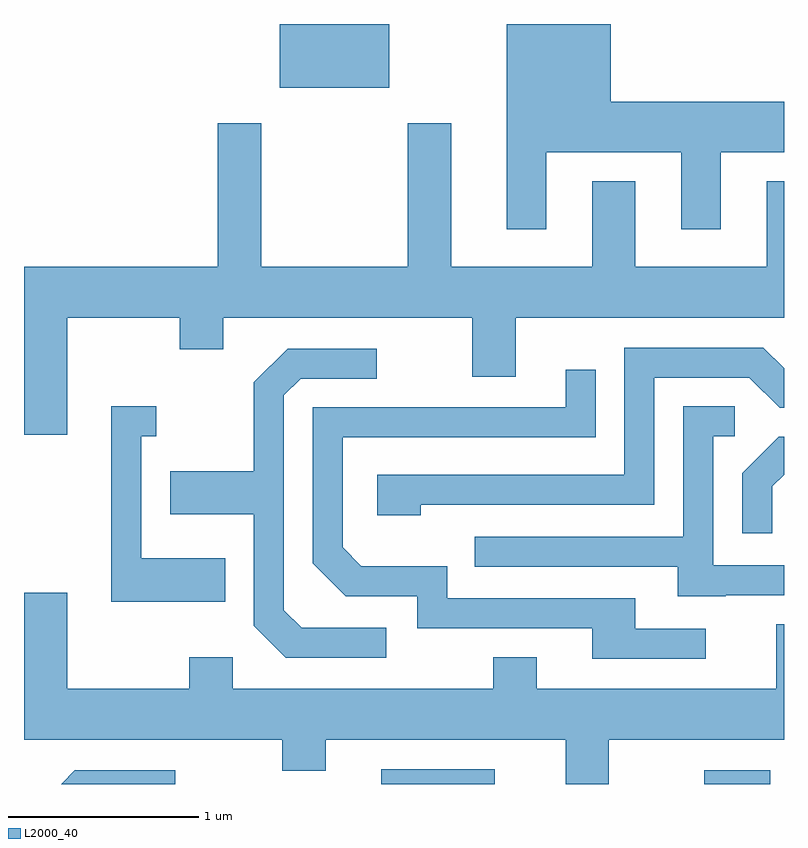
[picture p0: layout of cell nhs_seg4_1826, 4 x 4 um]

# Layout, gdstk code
import gdstk
lib = gdstk.Library(unit=1e-6, precision=1e-09)
def R(c, l, rs):  # rectangles x0, y0, x1, y1
    for r in rs: c.add(gdstk.rectangle(r[:2], r[2:], *l))
def P(c, l, *ps):  # polygons
    for p in ps: c.add(gdstk.Polygon(p, *l))
L2000_40 = (2000, 40)

nhs_seg4_1826 = lib.new_cell('nhs_seg4_1826')
R(nhs_seg4_1826, L2000_40, [(239.491,1369.982,240.088,1370.059), (241.191,1369.982,241.538,1370.054), (238.956,1373.646,239.534,1373.982)])
P(nhs_seg4_1826, L2000_40, [(240.359,1373.306),(241.071,1373.306),(241.071,1372.901),(241.279,1372.901),(241.279,1373.306),(241.611,1373.306),(241.611,1373.574),(240.699,1373.574),(240.699,1373.982),(240.151,1373.982),(240.151,1372.901),(240.359,1372.901)],
  [(239.859,1373.459),(239.631,1373.459),(239.631,1372.704),(238.859,1372.704),(238.859,1373.459),(238.631,1373.459),(238.631,1372.704),(237.611,1372.704),(237.611,1371.821),(237.839,1371.821),(237.839,1372.436),(238.431,1372.436),(238.431,1372.271),(238.659,1372.271),(238.659,1372.436),(239.971,1372.436),(239.971,1372.126),(240.199,1372.126),(240.199,1372.436),(241.611,1372.436),(241.611,1373.154),(241.521,1373.154),(241.521,1372.704),(240.829,1372.704),(240.829,1373.154),(240.601,1373.154),(240.601,1372.704),(239.859,1372.704)],
  [(239.699,1371.451),(240.929,1371.451),(240.929,1372.121),(241.429,1372.121),(241.589,1371.961),(241.611,1371.961),(241.611,1372.17),(241.502,1372.279),(240.771,1372.279),(240.771,1371.609),(239.471,1371.609),(239.471,1371.396),(239.699,1371.396)],
  [(239.518,1370.804),(239.072,1370.804),(238.979,1370.897),(238.979,1372.029),(239.067,1372.116),(239.468,1372.116),(239.468,1372.274),(238.999,1372.274),(238.821,1372.097),(238.821,1371.629),(238.381,1371.629),(238.381,1371.401),(238.821,1371.401),(238.821,1370.814),(238.989,1370.646),(239.518,1370.646)],
  [(241.198,1370.799),(240.829,1370.799),(240.829,1370.959),(239.839,1370.959),(239.839,1371.129),(239.387,1371.129),(239.289,1371.227),(239.289,1371.806),(240.619,1371.806),(240.619,1372.163),(240.461,1372.163),(240.461,1371.964),(239.131,1371.964),(239.131,1371.144),(239.304,1370.971),(239.681,1370.971),(239.681,1370.801),(240.601,1370.801),(240.601,1370.641),(241.198,1370.641)],
  [(238.669,1371.169),(238.229,1371.169),(238.229,1371.811),(238.308,1371.811),(238.308,1371.969),(238.071,1371.969),(238.071,1370.941),(238.669,1370.941)],
  [(241.305,1370.976),(241.611,1370.976),(241.611,1371.134),(241.239,1371.134),(241.239,1371.811),(241.353,1371.811),(241.353,1371.969),(241.081,1371.969),(241.081,1371.284),(239.983,1371.284),(239.983,1371.126),(241.051,1371.126),(241.051,1370.971),(241.305,1370.971)],
  [(241.549,1371.549),(241.611,1371.61),(241.611,1371.809),(241.584,1371.809),(241.391,1371.617),(241.391,1371.303),(241.549,1371.303)],
  [(240.689,1370.216),(241.611,1370.216),(241.611,1370.824),(241.571,1370.824),(241.571,1370.484),(240.309,1370.484),(240.309,1370.649),(240.081,1370.649),(240.081,1370.484),(238.709,1370.484),(238.709,1370.649),(238.481,1370.649),(238.481,1370.484),(237.839,1370.484),(237.839,1370.989),(237.611,1370.989),(237.611,1370.216),(238.971,1370.216),(238.971,1370.051),(239.199,1370.051),(239.199,1370.216),(240.461,1370.216),(240.461,1369.982),(240.689,1369.982)],
  [(238.408,1370.054),(237.879,1370.054),(237.807,1369.982),(238.408,1369.982)])

lib.write_gds('nhs_seg4_1826.gds')
